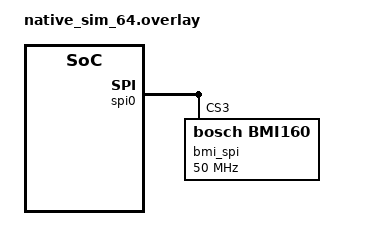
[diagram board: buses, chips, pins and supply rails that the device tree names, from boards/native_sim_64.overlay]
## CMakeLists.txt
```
cmake_minimum_required(VERSION 3.20.0)
find_package(Zephyr REQUIRED HINTS $ENV{ZEPHYR_BASE})
project(spi_bmi160_mock_test)
target_sources(app PRIVATE src/main.c)
```

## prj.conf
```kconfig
# Enable all dependencies for UART_CONSOLE
CONFIG_SHELL=y
CONFIG_UART_CONSOLE=y
CONFIG_SHELL_BACKEND_SERIAL=y
CONFIG_SHELL_PROMPT_UART="uart:~$ "
CONFIG_SHELL_HISTORY=y
CONFIG_SHELL_CMDS=y

# native POSIX UART backend to connect UART_0 to the host's stdin/stdout via a pseudoterminal (PTY)
CONFIG_UART_NATIVE_PTY_0_ON_STDINOUT=y

# Enable Bosch BMI160 sensosr driver for SPI bus
CONFIG_SPI=y
CONFIG_SPI_EMUL=y
CONFIG_SENSOR=y
CONFIG_BMI160=y
CONFIG_BMI160_TRIGGER_NONE=y
```

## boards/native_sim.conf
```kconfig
# Copyright (c) 2020 Nordic Semiconductor ASA
# SPDX-License-Identifier: Apache-2.0

CONFIG_EMUL=y
CONFIG_SPI=y
CONFIG_SENSOR=y
CONFIG_BMI160_TRIGGER_NONE=y
```

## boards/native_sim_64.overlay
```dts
/* Copyright (c) 2020 Nordic Semiconductor ASA
 * SPDX-License-Identifier: Apache-2.0
 */

/ {
	aliases {
		accel-0 = &bmi_spi;
	};
};

&spi0 {
	bmi_spi: bmi@3 {
		compatible = "bosch,bmi160";
		spi-max-frequency = <50000000>;
		reg = <3>;
	};
};
```

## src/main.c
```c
#include <zephyr/kernel.h>
#include <zephyr/init.h>
#include <zephyr/drivers/emul.h>
#include <zephyr/drivers/spi_emul.h>
#include <zephyr/shell/shell.h>
#include <zephyr/sys/printk.h>
#include <string.h>
#include <stdlib.h>
#include <zephyr/shell/shell_uart.h>

// SPI emulator 8-bit register space
static uint8_t spi_regs[256];

// Mocking SPI transceive operations with 8-bit register space
static int mock_spi_transceive(const struct emul *emul,
                               const struct spi_config *config,
                               const struct spi_buf_set *tx_bufs,
                               const struct spi_buf_set *rx_bufs)
{
    ARG_UNUSED(emul);
    ARG_UNUSED(config);

    if (tx_bufs->count < 1 || rx_bufs->count < 1) {
        return -EINVAL;
    }

    const uint8_t *tx_data = tx_bufs->buffers[0].buf;
    uint8_t *rx_data = rx_bufs->buffers[0].buf;

    uint8_t cmd = tx_data[0];
    bool is_read = cmd & 0x80;
    uint8_t reg_addr = cmd & 0x7F;

    if (is_read) {
        for (size_t i = 0; i < rx_bufs->buffers[0].len; i++) {
            rx_data[i] = spi_regs[reg_addr + i];
        }
        printk("SPI emulator multi-read from reg 0x%02X: ", reg_addr);
        for (size_t i = 0; i < rx_bufs->buffers[0].len; i++) {
            printk("0x%02X ", rx_data[i]);
        }
        printk("\n");
    } else {
        for (size_t i = 1; i < tx_bufs->buffers[0].len; i++) {
            spi_regs[reg_addr + i - 1] = tx_data[i];
        }
        printk("SPI emulator multi-write starting at reg 0x%02X\n", reg_addr);
    }
    return 0;
}

// Custom shell Write command
static int cmd_spi_write(const struct shell *shell, size_t argc, char **argv)
{
    if (argc < 3) {
        shell_print(shell, "Usage: spi_write <reg> <val1> [val2] ...");
        return -EINVAL;
    }

    uint8_t reg = strtol(argv[1], NULL, 0);
    shell_print(shell, "Writing to SPI registers starting at 0x%02X:", reg);

    for (size_t i = 2; i < argc; i++) {
        uint8_t val = strtol(argv[i], NULL, 0);
        spi_regs[reg] = val;
        shell_print(shell, "  0x%02X: 0x%02X", reg, val);
        reg++;
    }

    return 0;
}

// Custom shell Read command
static int cmd_spi_read(const struct shell *shell, size_t argc, char **argv)
{
    if (argc != 2) {
        shell_print(shell, "Usage: spi_read <reg>");
        return -EINVAL;
    }

    uint8_t reg = strtol(argv[1], NULL, 0);
    shell_print(shell, "SPI emulator read from reg 0x%02X: 0x%02X", reg, spi_regs[reg]);
    return 0;
}

// Custom shell Read command for multiple registers from a range
static int cmd_spi_read_range(const struct shell *shell, size_t argc, char **argv)
{
    if (argc != 3) {
        shell_print(shell, "Usage: spi_read_range <start> <count>");
        return -EINVAL;
    }

    uint8_t start = strtol(argv[1], NULL, 0);
    uint8_t count = strtol(argv[2], NULL, 0);

    shell_print(shell, "Reading %d registers starting from 0x%02X:", count, start);
    for (uint8_t i = 0; i < count; i++) {
        shell_print(shell, "  0x%02X: 0x%02X", start + i, spi_regs[start + i]);
    }
    return 0;
}

// Register custom shell commands
SHELL_CMD_REGISTER(spi_write, NULL, "Write SPI registers", cmd_spi_write);
SHELL_CMD_REGISTER(spi_read, NULL, "Read SPI register", cmd_spi_read);
SHELL_CMD_REGISTER(spi_read_range, NULL, "Read range of SPI registers", cmd_spi_read_range);

// Early initialization of SPI emulator
static int setup_spi_emul(void)
{
    const struct emul *emul = emul_get_binding("bmi@3");
    if (!emul) {
        printk("SPI emulator not found!\n");
        return -ENODEV;
    }

    struct spi_emul *spi_emul_inst = (struct spi_emul *)emul;
    static struct spi_emul_api mock_api = {
        .io = mock_spi_transceive,
    };
    spi_emul_inst->api = &mock_api;

    // Simulated sensor SPI data
    spi_regs[0x12] = 0x34; // Accel X LSB
    spi_regs[0x13] = 0x12; // Accel X MSB
    spi_regs[0x14] = 0x78; // Accel Y LSB
    spi_regs[0x15] = 0x56; // Accel Y MSB
    spi_regs[0x16] = 0xBC; // Accel Z LSB
    spi_regs[0x17] = 0x9A; // Accel Z MSB

    printk("SPI emulator initialized early.\n");
    return 0;
}

// Helper function for printing to shell
static void spi_read_range_print(uint8_t start, uint8_t count)
{
    printk("Reading %d registers starting from 0x%02X:\n", count, start);
    for (uint8_t i = 0; i < count; i++) {
        printk("  0x%02X: 0x%02X\n", start + i, spi_regs[start + i]);
    }
}


// Ensure emulator is initialized before application starts
SYS_INIT(setup_spi_emul, APPLICATION, CONFIG_APPLICATION_INIT_PRIORITY);

// Main function
int main(void)
{
    printk("System ready. Use 'spi_write', 'spi_read', and 'spi_read_range' commands.\n");
    // Print to shell for console test
    spi_read_range_print(0x12, 6);
    return 0;
}
```
